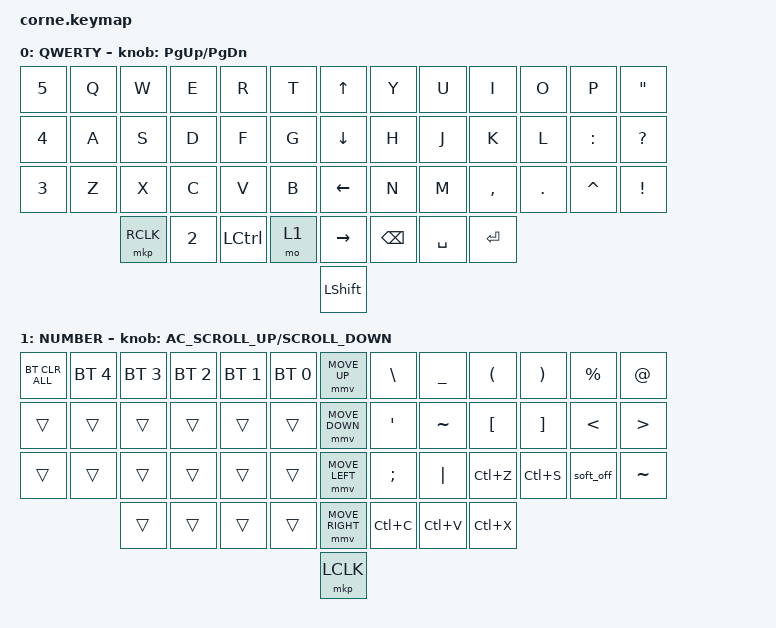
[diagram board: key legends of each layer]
#include <behaviors/mouse_keys.dtsi>
#include <dt-bindings/zmk/mouse.h>
#include <behaviors.dtsi>
#include <dt-bindings/zmk/bt.h>
#include <dt-bindings/zmk/keys.h>
#include <dt-bindings/zmk/pointing.h>
#include <dt-bindings/zmk/rgb.h>

#define ZMK_MOUSE_DEFAULT_MOVE_VAL 1200  // 600
#define ZMK_MOUSE_DEFAULT_SCRL_VAL 20    // 10
#define U_MS_U &mmv MOVE_UP
#define U_MS_D &mmv MOVE_DOWN
#define U_MS_L &mmv MOVE_LEFT
#define U_MS_R &mmv MOVE_RIGHT

/ {
    behaviors {
        td0: td0 {
            compatible = "zmk,behavior-tap-dance";
            label = "TD0";
            #binding-cells = <0>;
            bindings = <&kp LEFT_SHIFT>, <&kp CAPS>;
        };

        mmv {
            acceleration-exponent = <1>;      // 1
            time-to-max-speed-ms = <900>;    // 40
            delay-ms = <0>;                   // 0
        };

        msc {
            acceleration-exponent = <1>;      // 0
            time-to-max-speed-ms = <400>;      // 500
            delay-ms = <0>;                   // 10
        };
    };

    rgb_encoder: rgb_encoder {
        compatible = "zmk,behavior-sensor-rotate";
        label = "RGB_ENCODER";
        #sensor-binding-cells = <0>;
        bindings = <&rgb_ug RGB_BRI>, <&rgb_ug RGB_BRD>;
    };

    scroll_encoder: scroll_encoder {
        compatible = "zmk,behavior-sensor-rotate";
        #sensor-binding-cells = <0>;
        bindings = <&msc SCRL_DOWN>, <&msc SCRL_UP>;

        tap-ms = <30>;
    };

    keymap {
        compatible = "zmk,keymap";

        default_layer {
            display-name = "QWERTY";

            // --------------------------------------------------------------------------------
            // |  TAB |  Q  |  W  |  E  |  R  |  T  |                ↑    |  Y  |  U   |  I  |  O  |  P  | BKSP |      &kp UP_ARROW 
            // | SHIFT |  A  |  S  |  D  |  F  |  G  |               ↓    |  H  |  J   |  K  |  L  |  ;  |  '   | 
            // | CTRL |  Z  |  X  |  C  |  V  |  B  |                ←    |  N  |  M   |  ,  |  .  |  /  | ESC  |
            //                    | GUI | LWR | SPC |                →    | ENT | RSE  | ALT |
            //                                                      enter

            bindings = <
&kp N5        &kp Q  &kp W      &kp E         &kp R      &kp T    &kp UP_ARROW     &kp Y          &kp U      &kp I      &kp O    &kp P      &kp DOUBLE_QUOTES
&kp NUMBER_4  &kp A  &kp S      &kp D         &kp F      &kp G    &kp DOWN_ARROW   &kp H          &kp J      &kp K      &kp L    &kp COLON  &kp QUESTION
&kp NUMBER_3  &kp Z  &kp X      &kp C         &kp V      &kp B    &kp LEFT_ARROW   &kp N          &kp M      &kp COMMA  &kp DOT  &kp CARET  &kp EXCLAMATION
                     &mkp RCLK  &kp NUMBER_2  &kp LCTRL  &mo 1    &kp RIGHT_ARROW  &kp BACKSPACE  &kp SPACE  &kp ENTER
                                                                  &kp LEFT_SHIFT
            >;

            label = "QWERTY";
            sensor-bindings = <&inc_dec_kp PAGE_UP PAGE_DOWN>;
        };

        lower_layer {
            display-name = "NUMBER";

            // -----------------------------------------------------------------------------------------
            // |  TAB |  1  |  2  |  3  |  4  |  5  |   |  6  |  7  |  8  |  9  |  0  | BKSP |
            // | BTCLR| BT1 | BT2 | BT3 | BT4 | BT5 |   | LFT | DWN |  UP | RGT |     |      |
            // | SHFT |     |     |     |     |     |   |     |     |     |     |     |      |
            //                    | GUI |     | SPC |   | ENT |     | ALT |

            bindings = <
&bt BT_CLR_ALL  &bt BT_SEL 4  &bt BT_SEL 3  &bt BT_SEL 2  &bt BT_SEL 1  &bt BT_SEL 0    &mmv MOVE_UP     &kp BACKSLASH  &kp UNDER  &kp LEFT_PARENTHESIS  &kp RIGHT_PARENTHESIS  &kp PERCENT    &kp AT_SIGN
&trans          &trans        &trans        &trans        &trans        &trans          &mmv MOVE_DOWN   &kp SQT        &kp TILDE  &kp LEFT_BRACKET      &kp RIGHT_BRACKET      &kp LESS_THAN  &kp GREATER_THAN
&trans          &trans        &trans        &trans        &trans        &trans          &mmv MOVE_LEFT   &kp SEMICOLON  &kp PIPE   &kp LC(Z)             &kp LC(S)              &soft_off      &kp TILDE
                              &trans        &trans        &trans        &trans          &mmv MOVE_RIGHT  &kp LC(C)      &kp LC(V)  &kp LC(X)
                                                                                        &mkp LCLK
            >;

            label = "NUMBER";
            sensor-bindings = <&inc_dec_kp C_AC_SCROLL_UP K_SCROLL_DOWN>;
        };
    };
};
